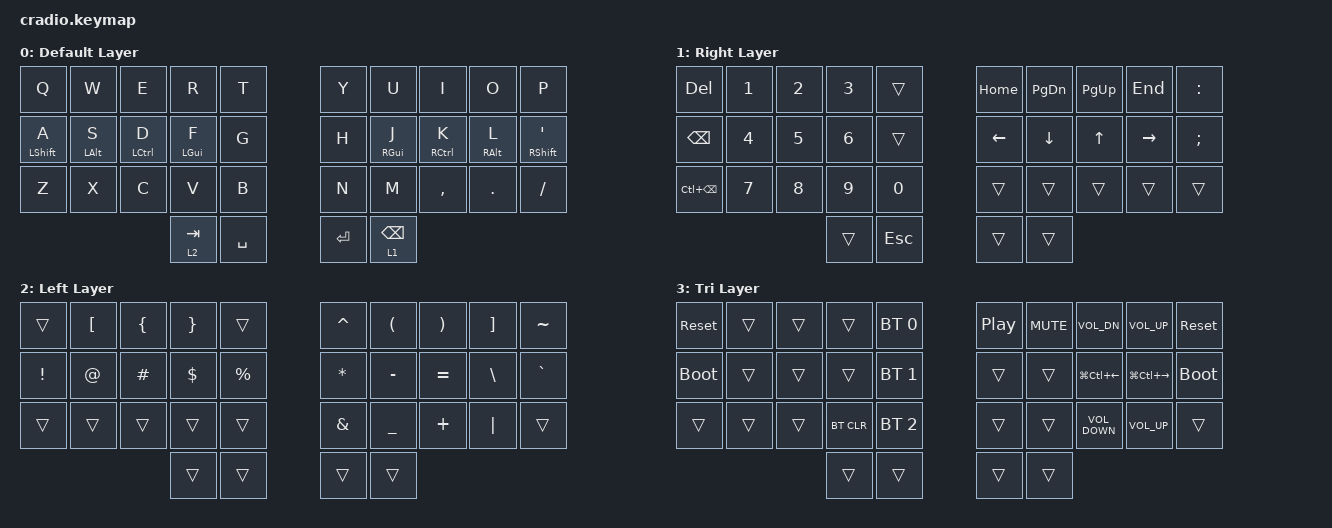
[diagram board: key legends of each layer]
// Copyright (c) 2022 The ZMK Contributors
// SPDX-License-Identifier: MIT

#include <behaviors.dtsi>
#include <dt-bindings/zmk/bt.h>
#include <dt-bindings/zmk/keys.h>

// Home row mods macro

#define HRML(k1,k2,k3,k4) &ht LSHFT k1  &ht LALT k2  &ht LCTRL k3  &ht LGUI k4
#define HRMR(k1,k2,k3,k4) &ht RGUI k1  &ht RCTRL k2  &ht RALT k3  &ht RSHFT k4

/ {
    behaviors {
        ht: hold_tap {
            compatible = "zmk,behavior-hold-tap";
            #binding-cells = <2>;
            flavor = "tap-preferred";
            tapping-term-ms = <220>;
            quick-tap-ms = <150>;
            require-prior-idle-ms = <100>;
            bindings = <&kp>, <&kp>;
        };
    };

    conditional_layers {
        compatible = "zmk,conditional-layers";

        tri_layer {
            if-layers = <1 2>;
            then-layer = <3>;
        };
    };

    keymap {
        compatible = "zmk,keymap";

        default_layer {
            display-name = "Default Layer";
            bindings = <
&kp Q        &kp W       &kp E        &kp R       &kp T        &kp Y      &kp U       &kp I        &kp O       &kp P
&ht LSHFT A  &ht LALT S  &ht LCTRL D  &ht LGUI F  &kp G        &kp H      &ht RGUI J  &ht RCTRL K  &ht RALT L  &ht RSHFT SQT
&kp Z        &kp X       &kp C        &kp V       &kp B        &kp N      &kp M       &kp COMMA    &kp DOT     &kp FSLH
                                      &lt 2 TAB   &kp SPACE    &kp ENTER  &lt 1 BSPC
            >;
        };

        right_layer {
            display-name = "Right Layer";
            bindings = <
&kp DELETE         &kp N1  &kp N2  &kp N3  &trans     &kp HOME  &kp PG_DN  &kp PG_UP  &kp END    &kp COLON
&kp BACKSPACE      &kp N4  &kp N5  &kp N6  &trans     &kp LEFT  &kp DOWN   &kp UP     &kp RIGHT  &kp SEMI
&kp LC(BACKSPACE)  &kp N7  &kp N8  &kp N9  &kp N0     &trans    &trans     &trans     &trans     &trans
                                   &trans  &kp ESC    &trans    &trans
            >;
        };

        left_layer {
            display-name = "Left Layer";
            bindings = <
&trans    &kp LBKT  &kp LBRC  &kp RBRC  &trans       &kp CARET  &kp LPAR   &kp RPAR   &kp RBKT  &kp TILDE
&kp EXCL  &kp AT    &kp HASH  &kp DLLR  &kp PRCNT    &kp ASTRK  &kp MINUS  &kp EQUAL  &kp BSLH  &kp GRAVE
&trans    &trans    &trans    &trans    &trans       &kp AMPS   &kp UNDER  &kp PLUS   &kp PIPE  &trans
                              &trans    &trans       &trans     &trans
            >;
        };

        tri_layer {
            display-name = "Tri Layer";
            bindings = <
&sys_reset   &trans  &trans  &trans      &bt BT_SEL 0    &kp C_PLAY_PAUSE  &kp K_MUTE  &kp C_VOL_DN       &kp C_VOL_UP       &sys_reset
&bootloader  &trans  &trans  &trans      &bt BT_SEL 1    &trans            &trans      &kp LG(LC(LEFT))   &kp LG(LC(RIGHT))  &bootloader
&trans       &trans  &trans  &bt BT_CLR  &bt BT_SEL 2    &trans            &trans      &kp C_VOLUME_DOWN  &kp C_VOLUME_UP    &trans
                             &trans      &trans          &trans            &trans
            >;
        };
    };
};
